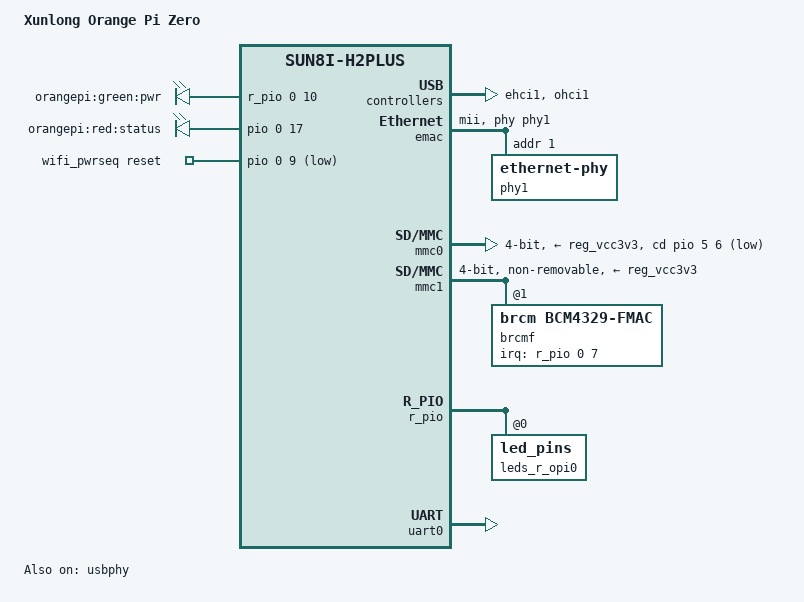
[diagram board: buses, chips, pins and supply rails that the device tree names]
/dts-v1/;
#include "sun8i-h3.dtsi"
#include "sunxi-common-regulators.dtsi"

#include <dt-bindings/gpio/gpio.h>
#include <dt-bindings/input/input.h>
#include <dt-bindings/pinctrl/sun4i-a10.h>

/ {
model = "Xunlong Orange Pi Zero";
compatible = "xunlong,orangepi-zero", "allwinner,sun8i-h2plus";

aliases {
serial0 = &uart0;
ethernet1 = &brcmf;
};

chosen {
stdout-path = "serial0:115200n8";
};

leds {
compatible = "gpio-leds";
pinctrl-names = "default";
pinctrl-0 = <&leds_opi0>, <&leds_r_opi0>;

pwr_led {
label = "orangepi:green:pwr";
gpios = <&r_pio 0 10 GPIO_ACTIVE_HIGH>;
default-state = "on";
};

status_led {
label = "orangepi:red:status";
	gpios = <&pio 0 17 GPIO_ACTIVE_HIGH>;
		};
	};

	wifi_pwrseq: wifi_pwrseq {
		compatible = "mmc-pwrseq-simple";
		pinctrl-names = "default";
		reset-gpios = <&pio 0 9 GPIO_ACTIVE_LOW>;
		post-power-on-delay-ms = <50>;
	};


};


&ehci1 {
	status = "okay";
};

&emac {
	phy = <&phy1>;
	phy-mode = "mii";
	allwinner,use-internal-phy;
	allwinner,leds-active-low;
	status = "okay";
	phy1: ethernet-phy@1 {
		reg = <1>;
	};
};

&mmc0 {
	pinctrl-names = "default";
	pinctrl-0 = <&mmc0_pins_a>, <&mmc0_cd_pin>;
	vmmc-supply = <&reg_vcc3v3>;
	bus-width = <4>;
	cd-gpios = <&pio 5 6 GPIO_ACTIVE_HIGH>; /* PF6 */
	cd-inverted;
	status = "okay";
};

&mmc1 {
	pinctrl-names = "default";
	pinctrl-0 = <&mmc1_pins_a>;
	vmmc-supply = <&reg_vcc3v3>;
	vqmmc-supply = <&reg_vcc3v3>;
	mmc-pwrseq = <&wifi_pwrseq>;
	bus-width = <4>;
	non-removable;
	status = "okay";

	brcmf: bcrmf@1 {
		reg = <1>;
		compatible = "brcm,bcm4329-fmac";
		interrupt-parent = <&r_pio>;
		interrupts = <0 7 IRQ_TYPE_LEVEL_LOW>; /* PL7 / EINT7 */
		interrupt-names = "host-wake";
	};
};


&ohci1 {
	status = "okay";
};

&pio {
	leds_opi0: led_pins@0 {
		pins = "PA17";
		function = "gpio_out";
	};
};

&r_pio {
	leds_r_opi0: led_pins@0 {
		pins = "PL10";
		function = "gpio_out";
	};
};

&uart0 {
	pinctrl-names = "default";
	pinctrl-0 = <&uart0_pins_a>;
	status = "okay";
};

&usbphy {
	/* USB VBUS is always on */
	status = "okay";
};
